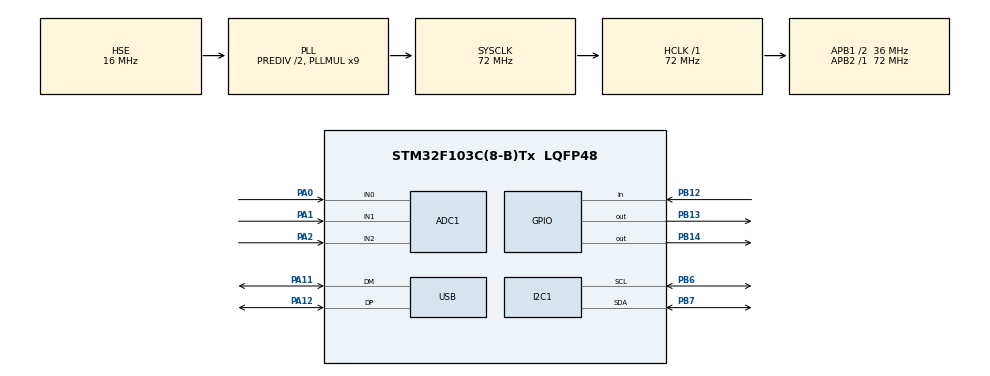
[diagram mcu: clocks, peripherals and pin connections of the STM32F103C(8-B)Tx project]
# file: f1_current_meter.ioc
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ADC1.Channel-0\#ChannelRegularConversion=ADC_CHANNEL_0
ADC1.Channel-1\#ChannelRegularConversion=ADC_CHANNEL_1
ADC1.Channel-2\#ChannelRegularConversion=ADC_CHANNEL_2
ADC1.NbrOfConversion=3
ADC1.NbrOfConversionFlag=1
ADC1.Rank-0\#ChannelRegularConversion=1
ADC1.Rank-1\#ChannelRegularConversion=2
ADC1.Rank-2\#ChannelRegularConversion=3
ADC1.SamplingTime-0\#ChannelRegularConversion=ADC_SAMPLETIME_71CYCLES_5
ADC1.SamplingTime-1\#ChannelRegularConversion=ADC_SAMPLETIME_71CYCLES_5
ADC1.SamplingTime-2\#ChannelRegularConversion=ADC_SAMPLETIME_71CYCLES_5
ADC1.master=1
Dma.ADC1.0.Direction=DMA_PERIPH_TO_MEMORY
Dma.ADC1.0.Instance=DMA1_Channel1
Dma.ADC1.0.MemDataAlignment=DMA_MDATAALIGN_HALFWORD
Dma.ADC1.0.MemInc=DMA_MINC_ENABLE
Dma.ADC1.0.Mode=DMA_NORMAL
Dma.ADC1.0.PeriphDataAlignment=DMA_PDATAALIGN_HALFWORD
Dma.ADC1.0.PeriphInc=DMA_PINC_DISABLE
Dma.ADC1.0.Priority=DMA_PRIORITY_LOW
Dma.Request0=ADC1
Mcu.Family=STM32F1
Mcu.Name=STM32F103C(8-B)Tx
Mcu.Package=LQFP48
NVIC.DMA1_Channel1_IRQn=true\:0\:0\:false\:false\:true\:false\:true\:true
NVIC.PriorityGroup=NVIC_PRIORITYGROUP_4
NVIC.TIM4_IRQn=true\:0\:0\:false\:false\:true\:true\:true\:true
NVIC.USB_LP_CAN1_RX0_IRQn=true\:0\:0\:false\:false\:true\:false\:true\:true
PA0-WKUP.Signal=ADCx_IN0
PA1.Signal=ADCx_IN1
PA11.Mode=Device
PA11.Signal=USB_DM
PA12.Mode=Device
PA12.Signal=USB_DP
PA13.Mode=Serial_Wire
PA13.Signal=SYS_JTMS-SWDIO
PA14.Mode=Serial_Wire
PA14.Signal=SYS_JTCK-SWCLK
PA2.Signal=ADCx_IN2
PB12.GPIO_PuPd=GPIO_PULLUP
PB12.Signal=GPIO_Input
PB13.Signal=GPIO_Output
PB14.Signal=GPIO_Output
PB6.Mode=I2C
PB6.Signal=I2C1_SCL
PB7.Mode=I2C
PB7.Signal=I2C1_SDA
PD0-OSC_IN.Mode=HSE-External-Oscillator
PD0-OSC_IN.Signal=RCC_OSC_IN
PD1-OSC_OUT.Mode=HSE-External-Oscillator
PD1-OSC_OUT.Signal=RCC_OSC_OUT
ProjectManager.HeapSize=0x200
ProjectManager.StackSize=0x400
ProjectManager.TargetToolchain=STM32CubeIDE
RCC.ADCPresc=RCC_ADCPCLK2_DIV6
RCC.AHBFreq_Value=72000000
RCC.APB1CLKDivider=RCC_HCLK_DIV2
RCC.APB1Freq_Value=36000000
RCC.APB1TimFreq_Value=72000000
RCC.APB2Freq_Value=72000000
RCC.APB2TimFreq_Value=72000000
RCC.HCLKFreq_Value=72000000
RCC.HSEDivPLL=RCC_HSE_PREDIV_DIV2
RCC.HSE_VALUE=16000000
RCC.PLLMUL=RCC_PLL_MUL9
RCC.PLLSourceVirtual=RCC_PLLSOURCE_HSE
RCC.SYSCLKFreq_VALUE=72000000
RCC.SYSCLKSource=RCC_SYSCLKSOURCE_PLLCLK
RCC.USBFreq_Value=48000000
RCC.USBPrescaler=RCC_USBCLKSOURCE_PLL_DIV1_5
SH.ADCx_IN0.0=ADC1_IN0,IN0
SH.ADCx_IN1.0=ADC1_IN1,IN1
SH.ADCx_IN2.0=ADC1_IN2,IN2
TIM4.Period=99
TIM4.Prescaler=719
USB_DEVICE.CLASS_NAME_FS=CDC
USB_DEVICE.VirtualMode=Cdc
USB_DEVICE.VirtualModeFS=Cdc_FS
VP_TIM4_VS_ClockSourceINT.Mode=Internal
VP_USB_DEVICE_VS_USB_DEVICE_CDC_FS.Mode=CDC_FS
board=custom

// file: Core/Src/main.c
/* USER CODE BEGIN Header */
/**
  ******************************************************************************
  * @file           : main.c
  * @brief          : Main program body
  ******************************************************************************
  * @attention
  *
  * Copyright (c) 2022 STMicroelectronics.
  * All rights reserved.
  *
  * This software is licensed under terms that can be found in the LICENSE file
  * in the root directory of this software component.
  * If no LICENSE file comes with this software, it is provided AS-IS.
  *
  ******************************************************************************
  */
/* USER CODE END Header */
#include "main.h"
#include "usb_device.h"

/* USER CODE BEGIN Includes */

#include "usbd_cdc_if.h"

#include "slip.h"
#include "storage.h"
#include "status_led.h"

#define K_ADC_TO_UA 805.860806 // k = 1000000000 / 4095 * 3.3
#define OA_MAX_ADC_VALUE 2000
#define OA0_GAIN 1
#define OA1_GAIN 40
#define OA2_GAIN 391

#define DATA_BUFFER_SIZE 256
#define DATA_STRING_SIZE 1024

#define DATA_TX_MAX_RECORDS 50
#define DATA_TX_MAX_RETRIES 10

#define BUTTON_DELAY     200 // ms
#define BUTTON_DELAY_LP 1000 // ms

/* USER CODE END Includes */

 ADC_HandleTypeDef hadc1;
DMA_HandleTypeDef hdma_adc1;

I2C_HandleTypeDef hi2c1;

TIM_HandleTypeDef htim4;

/* USER CODE BEGIN PV */

// Storage
storage_t storage = {0};
uint8_t save_settings_flag = 0;

// ADC
uint16_t adc_data[3];

// Data buffer
uint16_t data_buffer_raw[DATA_BUFFER_SIZE][3];
uint32_t data_buffer[DATA_BUFFER_SIZE];
uint16_t data_buffer_set = 0;
uint16_t data_buffer_get = 0;
char data_string[DATA_STRING_SIZE];

/* USER CODE END PV */

void SystemClock_Config(void);
static void MX_GPIO_Init(void);
static void MX_I2C1_Init(void);
static void MX_DMA_Init(void);
static void MX_ADC1_Init(void);
static void MX_TIM4_Init(void);

/* USER CODE BEGIN 0 */

//
//
void HAL_TIM_PeriodElapsedCallback(TIM_HandleTypeDef *htim)
{
	// Button
	static uint16_t btn_counter = 0;
	static uint16_t btn_counter_press = 0;
	static uint8_t btn_state = 1;

	// General counter
	static uint16_t counter = 0;
	counter = (counter + 1) % 1000;

	// Period: 1ms
	// ADC
	//
	HAL_ADC_Start_DMA(&hadc1, (uint32_t *) adc_data, 3);

	// Period: 1ms
	// Button
	//
	if(btn_counter_press)
		btn_counter_press--;
	//
	if(btn_counter)
	{
		btn_counter--;
	}
	else
	{
		if((btn_state == 1) && (HAL_GPIO_ReadPin(GPIOB, GPIO_PIN_12) == GPIO_PIN_RESET))
		{
			btn_state = 0;
			btn_counter = BUTTON_DELAY;
			btn_counter_press = BUTTON_DELAY_LP;
		}
		else if((btn_state == 0) && (HAL_GPIO_ReadPin(GPIOB, GPIO_PIN_12) == GPIO_PIN_SET))
		{
			btn_state = 1;
			btn_counter = BUTTON_DELAY;

			// Short press
			if(btn_counter_press)
			{
				storage.settings.period = (storage.settings.period + 1) % 3; // 0 - 1ms, 1 - 10ms, 2 - 100ms
				status_led(0, storage.settings.period + 1); // 1, 2 or 3 blinks
				save_settings_flag = 1;
			}
			// Long press
			else
			{
				storage.settings.mode = (storage.settings.mode + 1) % 3; // 0 - TEXT, 1 - RAW JSON, 2 - RAW SLIP
				status_led(1, storage.settings.mode + 1); // 1, 2 or 3 blinks
				save_settings_flag = 1;
			}
		}
	}

	// Period: 125ms
	// LEDs
	//
	if((counter % 125) == 0)
		status_led_callback();
}

//
//
void HAL_ADC_ConvCpltCallback(ADC_HandleTypeDef* hadc)
{
	static uint16_t counter = 0;
	uint32_t value = 0;

	// Raw data
	data_buffer_raw[data_buffer_set][0] = adc_data[1];
	data_buffer_raw[data_buffer_set][1] = adc_data[2];
	data_buffer_raw[data_buffer_set][2] = adc_data[0];

	// OA2
	if(adc_data[0] < OA_MAX_ADC_VALUE)
		value = adc_data[0] * K_ADC_TO_UA / OA2_GAIN * storage.calib.oa2 / 1000;
	// OA1
	else if(adc_data[2] < OA_MAX_ADC_VALUE)
		value = adc_data[2] * K_ADC_TO_UA / OA1_GAIN * storage.calib.oa1 / 1000;
	// OA0
	else
		value = adc_data[1] * K_ADC_TO_UA / OA0_GAIN * storage.calib.oa0 / 1000;

	// Clear buffer
	if(counter == 0)
		data_buffer[data_buffer_set] = 0;

	// Period: 1ms
	if(storage.settings.period == 0)
	{
		data_buffer[data_buffer_set] = value;
		counter = 0; // ?
		data_buffer_set = (data_buffer_set + 1) % DATA_BUFFER_SIZE;
	}
	// Period: 10ms
	else if(storage.settings.period == 1)
	{
		data_buffer[data_buffer_set] += value;
		counter = (counter + 1) % 10;
		if(counter == 0)
		{
			data_buffer[data_buffer_set] /= 10;
			data_buffer_set = (data_buffer_set + 1) % DATA_BUFFER_SIZE;
		}
	}
	// Period: 100ms
	else if(storage.settings.period == 2)
	{
		data_buffer[data_buffer_set] += value;
		counter = (counter + 1) % 100;
		if(counter == 0)
		{
			data_buffer[data_buffer_set] /= 100;
			data_buffer_set = (data_buffer_set + 1) % DATA_BUFFER_SIZE;
		}
	}
}

/* USER CODE END 0 */

int main(void)
{

  /* MCU Configuration--------------------------------------------------------*/

  /* Reset of all peripherals, Initializes the Flash interface and the Systick. */
  HAL_Init();

  /* Configure the system clock */
  SystemClock_Config();

  /* Initialize all configured peripherals */
  MX_GPIO_Init();
  MX_I2C1_Init();
  MX_DMA_Init();
  MX_USB_DEVICE_Init();
  MX_ADC1_Init();
  MX_TIM4_Init();

  /* Infinite loop */
  /* USER CODE BEGIN WHILE */

  // EEPROM storage
  storage_get_params(&storage);
  if(storage.settings.empty_status != 0x5A)
  {
	  storage_set_default();
	  storage_get_params(&storage);
  }

  // LEDs
  status_led(0, storage.settings.period + 1);
  status_led(1, storage.settings.mode + 1);

  // ADC
  HAL_ADCEx_Calibration_Start(&hadc1);

  // TIM4
  HAL_TIM_Base_Start_IT(&htim4);

  while (1)
  {
    /* USER CODE END WHILE */

    /* USER CODE BEGIN 3 */

	    // Saving settings to storage
	    if(save_settings_flag)
	    {
	    	save_settings_flag = 0;
	    	storage_set_params_settings(&storage.settings);
	    }

		// Data transfer
	    if(data_buffer_get != data_buffer_set)
	    {
	    	// Create message
			uint16_t string_cnt = 0;
			uint16_t records = DATA_TX_MAX_RECORDS;

			// Mode: TEXT
			if(storage.settings.mode == 0)
			{
				while((data_buffer_get != data_buffer_set) && (records))
				{
					string_cnt += sprintf(&data_string[string_cnt], "%lu\r\n", data_buffer[data_buffer_get]);
					data_buffer_get = (data_buffer_get + 1) % DATA_BUFFER_SIZE;
					records--;
				}
			}

			// Mode: RAW JSON
			else if(storage.settings.mode == 1)
			{
				while((data_buffer_get != data_buffer_set) && (records))
				{
					string_cnt += sprintf(
							&data_string[string_cnt],
							"{\"OA0\": %d, \"OA1\": %d, \"OA2\": %d}\r\n",
							data_buffer_raw[data_buffer_get][0],
							data_buffer_raw[data_buffer_get][1],
							data_buffer_raw[data_buffer_get][2]);
					data_buffer_get = (data_buffer_get + 1) % DATA_BUFFER_SIZE;
					records--;
				}
			}

			// Mode: RAW SLIP
			else if(storage.settings.mode == 2)
			{
				while((data_buffer_get != data_buffer_set) && (records))
				{
					uint8_t buffer[6];
					for(uint8_t i = 0; i < 3; i++)
					{
						buffer[i * 2] = data_buffer_raw[data_buffer_get][i] >> 8;
						buffer[i * 2 + 1] = data_buffer_raw[data_buffer_get][i];
					}

					uint8_t *slip = NULL;
					string_cnt = slip_packet(&slip, buffer, 6);
					memcpy(data_string, slip, string_cnt);
					free(slip);

					data_buffer_get = (data_buffer_get + 1) % DATA_BUFFER_SIZE;
					records--;
		    	}
			}

			// Transfer message
			uint16_t retries = DATA_TX_MAX_RETRIES;
			while((CDC_Transmit_FS((uint8_t*) data_string, string_cnt) == USBD_BUSY) && (retries))
			{
				HAL_Delay(1);
				retries--;
			}
		}
  }
  /* USER CODE END 3 */
}

void SystemClock_Config(void)
{
  RCC_OscInitTypeDef RCC_OscInitStruct = {0};
  RCC_ClkInitTypeDef RCC_ClkInitStruct = {0};
  RCC_PeriphCLKInitTypeDef PeriphClkInit = {0};

  /** Initializes the RCC Oscillators according to the specified parameters
  * in the RCC_OscInitTypeDef structure.
  */
  RCC_OscInitStruct.OscillatorType = RCC_OSCILLATORTYPE_HSE;
  RCC_OscInitStruct.HSEState = RCC_HSE_ON;
  RCC_OscInitStruct.HSEPredivValue = RCC_HSE_PREDIV_DIV2;
  RCC_OscInitStruct.HSIState = RCC_HSI_ON;
  RCC_OscInitStruct.PLL.PLLState = RCC_PLL_ON;
  RCC_OscInitStruct.PLL.PLLSource = RCC_PLLSOURCE_HSE;
  RCC_OscInitStruct.PLL.PLLMUL = RCC_PLL_MUL9;
  if (HAL_RCC_OscConfig(&RCC_OscInitStruct) != HAL_OK)
  {
    Error_Handler();
  }

  /** Initializes the CPU, AHB and APB buses clocks
  */
  RCC_ClkInitStruct.ClockType = RCC_CLOCKTYPE_HCLK|RCC_CLOCKTYPE_SYSCLK
                              |RCC_CLOCKTYPE_PCLK1|RCC_CLOCKTYPE_PCLK2;
  RCC_ClkInitStruct.SYSCLKSource = RCC_SYSCLKSOURCE_PLLCLK;
  RCC_ClkInitStruct.AHBCLKDivider = RCC_SYSCLK_DIV1;
  RCC_ClkInitStruct.APB1CLKDivider = RCC_HCLK_DIV2;
  RCC_ClkInitStruct.APB2CLKDivider = RCC_HCLK_DIV1;

  if (HAL_RCC_ClockConfig(&RCC_ClkInitStruct, FLASH_LATENCY_2) != HAL_OK)
  {
    Error_Handler();
  }
  PeriphClkInit.PeriphClockSelection = RCC_PERIPHCLK_ADC|RCC_PERIPHCLK_USB;
  PeriphClkInit.AdcClockSelection = RCC_ADCPCLK2_DIV6;
  PeriphClkInit.UsbClockSelection = RCC_USBCLKSOURCE_PLL_DIV1_5;
  if (HAL_RCCEx_PeriphCLKConfig(&PeriphClkInit) != HAL_OK)
  {
    Error_Handler();
  }
}

static void MX_ADC1_Init(void)
{

  ADC_ChannelConfTypeDef sConfig = {0};

  /** Common config
  */
  hadc1.Instance = ADC1;
  hadc1.Init.ScanConvMode = ADC_SCAN_ENABLE;
  hadc1.Init.ContinuousConvMode = DISABLE;
  hadc1.Init.DiscontinuousConvMode = DISABLE;
  hadc1.Init.ExternalTrigConv = ADC_SOFTWARE_START;
  hadc1.Init.DataAlign = ADC_DATAALIGN_RIGHT;
  hadc1.Init.NbrOfConversion = 3;
  if (HAL_ADC_Init(&hadc1) != HAL_OK)
  {
    Error_Handler();
  }

  /** Configure Regular Channel
  */
  sConfig.Channel = ADC_CHANNEL_0;
  sConfig.Rank = ADC_REGULAR_RANK_1;
  sConfig.SamplingTime = ADC_SAMPLETIME_71CYCLES_5;
  if (HAL_ADC_ConfigChannel(&hadc1, &sConfig) != HAL_OK)
  {
    Error_Handler();
  }

  /** Configure Regular Channel
  */
  sConfig.Channel = ADC_CHANNEL_1;
  sConfig.Rank = ADC_REGULAR_RANK_2;
  if (HAL_ADC_ConfigChannel(&hadc1, &sConfig) != HAL_OK)
  {
    Error_Handler();
  }

  /** Configure Regular Channel
  */
  sConfig.Channel = ADC_CHANNEL_2;
  sConfig.Rank = ADC_REGULAR_RANK_3;
  if (HAL_ADC_ConfigChannel(&hadc1, &sConfig) != HAL_OK)
  {
    Error_Handler();
  }

}

static void MX_I2C1_Init(void)
{

  hi2c1.Instance = I2C1;
  hi2c1.Init.ClockSpeed = 100000;
  hi2c1.Init.DutyCycle = I2C_DUTYCYCLE_2;
  hi2c1.Init.OwnAddress1 = 0;
  hi2c1.Init.AddressingMode = I2C_ADDRESSINGMODE_7BIT;
  hi2c1.Init.DualAddressMode = I2C_DUALADDRESS_DISABLE;
  hi2c1.Init.OwnAddress2 = 0;
  hi2c1.Init.GeneralCallMode = I2C_GENERALCALL_DISABLE;
  hi2c1.Init.NoStretchMode = I2C_NOSTRETCH_DISABLE;
  if (HAL_I2C_Init(&hi2c1) != HAL_OK)
  {
    Error_Handler();
  }

}

static void MX_TIM4_Init(void)
{

  TIM_ClockConfigTypeDef sClockSourceConfig = {0};
  TIM_MasterConfigTypeDef sMasterConfig = {0};

  htim4.Instance = TIM4;
  htim4.Init.Prescaler = 719;
  htim4.Init.CounterMode = TIM_COUNTERMODE_UP;
  htim4.Init.Period = 99;
  htim4.Init.ClockDivision = TIM_CLOCKDIVISION_DIV1;
  htim4.Init.AutoReloadPreload = TIM_AUTORELOAD_PRELOAD_DISABLE;
  if (HAL_TIM_Base_Init(&htim4) != HAL_OK)
  {
    Error_Handler();
  }
  sClockSourceConfig.ClockSource = TIM_CLOCKSOURCE_INTERNAL;
  if (HAL_TIM_ConfigClockSource(&htim4, &sClockSourceConfig) != HAL_OK)
  {
    Error_Handler();
  }
  sMasterConfig.MasterOutputTrigger = TIM_TRGO_RESET;
  sMasterConfig.MasterSlaveMode = TIM_MASTERSLAVEMODE_DISABLE;
  if (HAL_TIMEx_MasterConfigSynchronization(&htim4, &sMasterConfig) != HAL_OK)
  {
    Error_Handler();
  }

}

static void MX_DMA_Init(void)
{

  /* DMA controller clock enable */
  __HAL_RCC_DMA1_CLK_ENABLE();

  /* DMA interrupt init */
  /* DMA1_Channel1_IRQn interrupt configuration */
  HAL_NVIC_SetPriority(DMA1_Channel1_IRQn, 0, 0);
  HAL_NVIC_EnableIRQ(DMA1_Channel1_IRQn);

}

static void MX_GPIO_Init(void)
{
  GPIO_InitTypeDef GPIO_InitStruct = {0};

  /* GPIO Ports Clock Enable */
  __HAL_RCC_GPIOD_CLK_ENABLE();
  __HAL_RCC_GPIOA_CLK_ENABLE();
  __HAL_RCC_GPIOB_CLK_ENABLE();

  /*Configure GPIO pin Output Level */
  HAL_GPIO_WritePin(GPIOB, GPIO_PIN_13|GPIO_PIN_14, GPIO_PIN_RESET);

  /*Configure GPIO pin : PB12 */
  GPIO_InitStruct.Pin = GPIO_PIN_12;
  GPIO_InitStruct.Mode = GPIO_MODE_INPUT;
  GPIO_InitStruct.Pull = GPIO_PULLUP;
  HAL_GPIO_Init(GPIOB, &GPIO_InitStruct);

  /*Configure GPIO pins : PB13 PB14 */
  GPIO_InitStruct.Pin = GPIO_PIN_13|GPIO_PIN_14;
  GPIO_InitStruct.Mode = GPIO_MODE_OUTPUT_PP;
  GPIO_InitStruct.Pull = GPIO_NOPULL;
  GPIO_InitStruct.Speed = GPIO_SPEED_FREQ_LOW;
  HAL_GPIO_Init(GPIOB, &GPIO_InitStruct);

}

void Error_Handler(void)
{
  __disable_irq();
  while (1)
  {
  }
}
